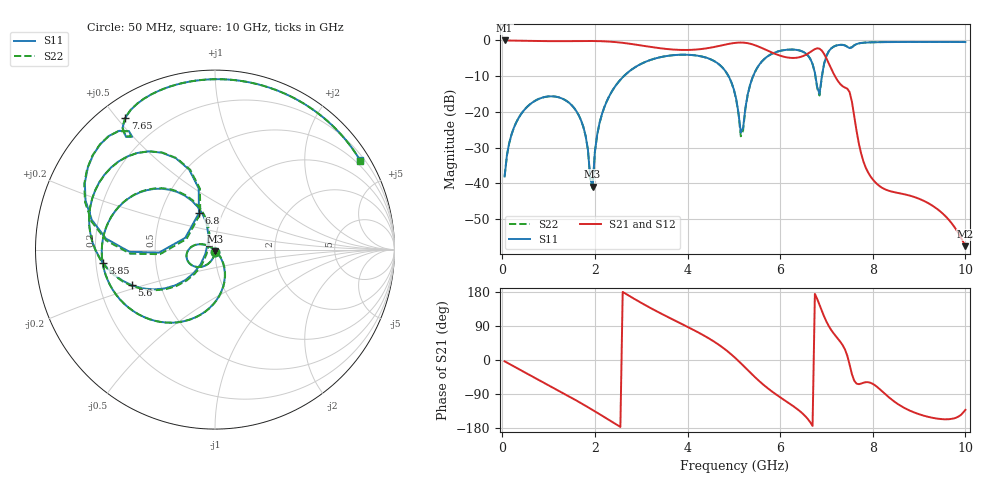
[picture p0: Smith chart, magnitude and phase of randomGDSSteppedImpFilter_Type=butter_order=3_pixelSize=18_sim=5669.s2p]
! freq	dB(S11)	phase(S11)	dB(S12)	phase(S12)
!  dB(S21)	phase(S21)	dB(S22)	phase(S22)
!S-par simulation data
#  GHz  S  DB  R 50
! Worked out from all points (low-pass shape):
!   200 points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, 50 MHz to 10 GHz, reference 50 ohm
!   highest |S21| = -0.01 dB at 50 MHz (marker M1); lowest = -57.6 dB at 10 GHz (marker M2)
!   |S21| within 3 dB of the highest: start of sweep to 5.755 GHz; 6.678 GHz to 6.908 GHz (230.1 MHz wide, 3.39 % of centre)
!   lowest |S11| = -40.9 dB at 1.95 GHz (marker M3), VSWR 1.02, Z = 50.2 - j0.873 ohm
!   |S11| at or under -10 dB: start of sweep to 2.625 GHz; 4.884 GHz to 5.417 GHz (532.7 MHz wide, 10.3 % of centre); 6.762 GHz to 6.902 GHz (139.7 MHz wide, 2.04 % of centre)
!   |S22| runs from -41.5 to -0.4 dB; largest |S21 - S12| = 0
!   S11 on the Smith chart (normalised r, x): 50 MHz: 1.00, -0.02; 3.85 GHz: 0.23, -0.06; 5.6 GHz: 0.34, -0.18; 6.8 GHz: 0.77, +0.33; 7.65 GHz: 0.08, +0.53; 10 GHz: 0.35, +3.51
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0.05  -38.11 -92.7  -0.01 -3.4  -0.01 -3.4  -38.11 -92.7
0.25  -24.47 -107.0  -0.04 -16.9  -0.04 -16.9  -24.47 -107.0
0.7  -16.97 -137.2  -0.15 -46.9  -0.15 -46.9  -16.97 -137.3
1.75  -24.21 154.8  -0.16 -117.4  -0.16 -117.4  -24.22 153.6
1.95  -40.93 -75.4  -0.16 -131.8  -0.16 -131.8  -41.49 -69.1
2.05  -26.32 -54.7  -0.18 -139.2  -0.18 -139.2  -26.34 -52.9
2.3  -15.85 -70.2  -0.32 -157.9  -0.32 -157.9  -15.85 -69.6
3.4  -4.73 -146.1  -2.17 124.3  -2.17 124.3  -4.73 -146.1
3.85  -4.01 -173.2  -2.66 96.6  -2.66 96.6  -4.01 -173.3
4.7  -6.92 131.2  -1.50 38.1  -1.50 38.1  -6.92 130.6
5.05  -16.38 108.1  -0.66 3.3  -0.66 3.3  -16.47 105.7
5.15  -25.81 143.0  -0.59 -8.4  -0.59 -8.4  -26.86 139.2
5.6  -5.96 -156.7  -2.09 -61.2  -2.09 -61.2  -5.97 -156.1
6.15  -2.60 157.3  -4.76 -110.7  -4.76 -110.7  -2.61 157.4
6.7  -6.60 107.9  -2.82 -174.0  -2.82 -174.0  -6.64 107.2
6.8  -13.06 113.8  -2.20 160.9  -2.20 160.9  -13.33 112.4
7.1  -2.25 159.2  -7.86 79.7  -7.86 79.7  -2.26 159.9
7.5  -2.16 126.3  -14.49 -12.2  -14.49 -12.2  -2.10 126.6
7.65  -1.02 124.2  -25.35 -62.3  -25.35 -62.3  -1.01 124.2
7.9  -0.56 110.0  -37.01 -58.6  -37.01 -58.6  -0.56 110.0
8.35  -0.45 90.5  -42.13 -98.6  -42.13 -98.6  -0.45 90.5
10  -0.45 31.6  -57.65 -131.6  -57.65 -131.6  -0.45 31.4
